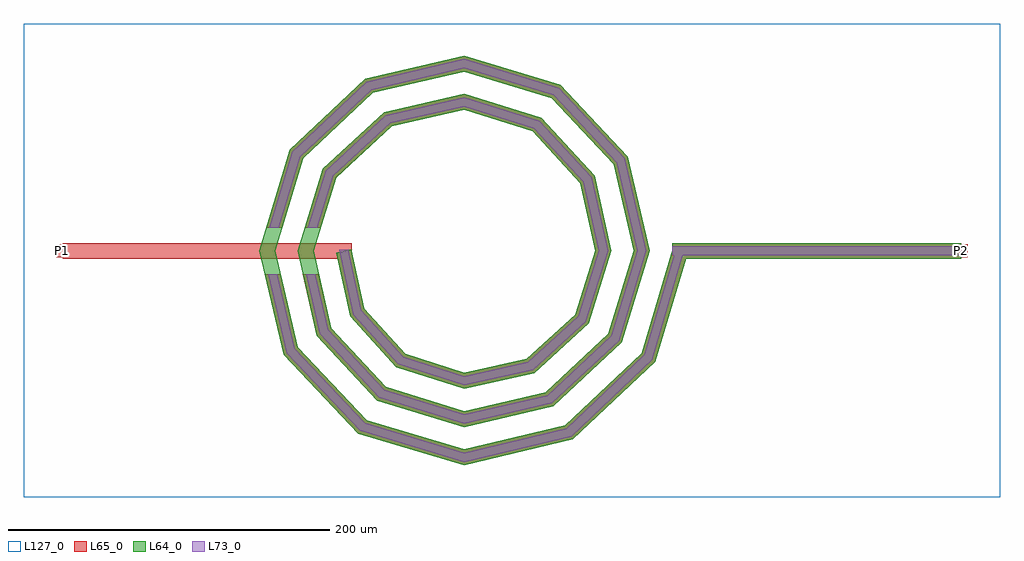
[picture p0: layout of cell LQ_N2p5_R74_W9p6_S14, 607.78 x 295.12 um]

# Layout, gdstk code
import gdstk
lib = gdstk.Library(unit=1e-6, precision=1e-09)
def R(c, l, rs):  # rectangles x0, y0, x1, y1
    for r in rs: c.add(gdstk.rectangle(r[:2], r[2:], *l))
def P(c, l, *ps):  # polygons
    for p in ps: c.add(gdstk.Polygon(p, *l))
L64_0 = (64, 0)
L65_0 = (65, 0)
L73_0 = (73, 0)
L127_0 = (127, 0)

lq_n2p5_r74_w9p6_s14 = lib.new_cell('LQ_N2p5_R74_W9p6_S14')
R(lq_n2p5_r74_w9p6_s14, L64_0, [(129.727,-4.8,309.727,4.8)])
P(lq_n2p5_r74_w9p6_s14, L64_0, [(-62.125,-36.145),(-36.729,-64.085),(0.228,-75.852),(39.114,-67.301),(69.244,-39.727),(81.82,0.212),(72.477,42.084),(42.723,74.405),(0.199,87.787),(-45.056,77.651),(-79.566,45.717),(-93.754,0.187),(-82.825,-48.03),(-48.711,-84.729),(0.176,-99.722),(51.005,-87.998),(89.892,-51.703),(105.689,0.167),(93.17,53.981),(54.694,95.055),(0.158,111.657),(-56.958,98.342),(-100.219,57.685),(-117.624,0.15),(-103.514,-59.935),(-60.675,-105.384),(0.143,-123.592),(62.913,-108.686),(110.548,-63.664),(129.927,1.371),(139.127,-1.371),(119.014,-68.873),(67.636,-117.431),(0.143,-133.527),(-65.895,-113.842),(-112.266,-64.646),(-127.559,0.15),(-108.67,62.917),(-61.655,107.101),(0.158,121.591),(59.94,103.498),(101.937,58.664),(115.623,0.167),(98.325,-56.964),(55.672,-96.773),(0.176,-109.655),(-53.988,-93.151),(-91.61,-52.68),(-103.687,0.187),(-87.977,51.014),(-49.686,86.447),(0.199,97.719),(48.041,82.802),(81.285,46.69),(91.75,0.212),(77.627,-45.069),(43.693,-76.124),(0.228,-85.782),(-42.099,-72.45),(-70.964,-40.694),(-79.541,-1.014),(-70.158,1.014)])
R(lq_n2p5_r74_w9p6_s14, L65_0, [(-250.05,-4.8,-70.05,4.8), (129.727,-4.8,309.727,4.8), (-254.05,-4,-246.05,4), (305.727,-4,313.727,4)])
P(lq_n2p5_r74_w9p6_s14, L65_0, [(-103.514,-59.935),(-60.675,-105.384),(0.143,-123.592),(62.913,-108.686),(110.549,-63.665),(129.927,1.371),(139.127,-1.371),(119.014,-68.873),(67.636,-117.431),(0.143,-133.527),(-65.895,-113.842),(-112.266,-64.646),(-124.125,-14.4),(-114.261,-14.4)],
  [(-82.825,-48.03),(-48.711,-84.729),(0.176,-99.722),(51.005,-87.998),(89.892,-51.703),(105.689,0.167),(93.17,53.981),(54.694,95.055),(0.158,111.657),(-56.958,98.342),(-100.219,57.685),(-113.245,14.4),(-123.271,14.4),(-108.67,62.917),(-61.656,107.101),(0.158,121.591),(59.94,103.498),(101.937,58.664),(115.623,0.167),(98.325,-56.964),(55.672,-96.773),(0.176,-109.655),(-53.988,-93.151),(-91.61,-52.68),(-100.355,-14.4),(-90.507,-14.4)],
  [(-36.729,-64.085),(0.228,-75.853),(39.114,-67.301),(69.244,-39.727),(81.82,0.212),(72.477,42.084),(42.723,74.405),(0.199,87.787),(-45.057,77.651),(-79.566,45.718),(-89.246,14.4),(-99.294,14.4),(-87.977,51.014),(-49.686,86.447),(0.199,97.719),(48.041,82.803),(81.285,46.69),(91.751,0.212),(77.627,-45.069),(43.693,-76.124),(0.228,-85.782),(-42.099,-72.45),(-70.964,-40.694),(-79.541,-1.014),(-70.158,1.014),(-62.125,-36.145)])
R(lq_n2p5_r74_w9p6_s14, L73_0, [(129.727,-2.8,309.727,2.8)])
P(lq_n2p5_r74_w9p6_s14, L73_0, [(-105.337,-60.916),(-61.763,-107.146),(0.084,-125.662),(63.897,-110.508),(112.312,-64.75),(131.844,0.8),(137.21,0.8),(117.25,-67.788),(66.652,-115.609),(0.084,-131.457),(-64.807,-112.08),(-110.443,-63.664),(-122.07,-14.4),(-116.316,-14.4)],
  [(-84.655,-48.999),(-49.81,-86.483),(0.103,-101.791),(51.977,-89.826),(91.649,-52.799),(107.759,0.097),(94.997,54.957),(55.787,96.814),(0.092,113.726),(-57.936,100.167),(-101.98,58.775),(-115.334,14.4),(-121.182,14.4),(-106.909,61.827),(-60.677,105.277),(0.092,119.521),(58.847,101.739),(100.111,57.689),(113.553,0.097),(96.568,-55.868),(54.7,-94.945),(0.103,-107.586),(-52.889,-91.397),(-89.78,-51.711),(-98.303,-14.4),(-92.559,-14.4)],
  [(-37.848,-65.827),(0.133,-77.921),(40.068,-69.139),(70.99,-40.84),(83.889,0.124),(74.312,43.044),(43.831,76.154),(0.116,89.856),(-46.021,79.484),(-81.319,46.821),(-91.339,14.4),(-97.201,14.4),(-86.225,49.91),(-48.721,84.615),(0.116,95.65),(46.933,81.053),(79.45,45.731),(89.682,0.124),(75.88,-43.956),(42.739,-74.286),(0.133,-83.714),(-40.98,-70.707),(-69.122,-39.746),(-77.586,0.592),(-72.113,0.592),(-63.967,-37.093)])
R(lq_n2p5_r74_w9p6_s14, L127_0, [(-274.05,-153.527,333.727,141.591)])
lq_n2p5_r74_w9p6_s14.add(gdstk.Label('P2', (309.727,0), layer=65, texttype=0))
lq_n2p5_r74_w9p6_s14.add(gdstk.Label('P1', (-250.05,0), layer=65, texttype=0))
lq_n2p5_r74_w9p6_s14.add(gdstk.Label('P2', (313.727,0), layer=145, texttype=0))
lq_n2p5_r74_w9p6_s14.add(gdstk.Label('P1', (-254.05,0), layer=145, texttype=0))

lib.write_gds('LQ_N2p5_R74_W9p6_S14.gds')
